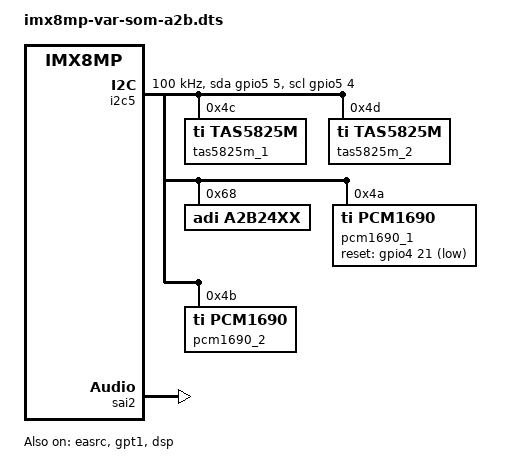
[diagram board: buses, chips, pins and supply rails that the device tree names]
/*
 * Copyright AxisB Inc 2024 - 2025
 * All rights reserved
 */

#include "imx8mp-var-som-symphony.dts"

/* Enable easrc */
&easrc {
	fsl,asrc-rate  = <48000>;
	status = "okay";
};

/* AVB HW timer */
&gpt1 {
	compatible = "fsl,avb-gpt";
	timer-channel = <1>; /* Use output compare channel 1*/
	rec-channel = <1 0 1>; // capture channel, eth port, ENET TC id
	prescale = <1>;
	domain = <0>;

	clocks = <&clk IMX8MP_CLK_GPT1_ROOT>,
		 <&clk IMX8MP_CLK_GPT1_ROOT>,
		 <&clk IMX8MP_AUDIO_PLL1>;
	clock-names = "ipg", "per", "audio_pll";

	/* Make the GPT clk root derive from the audio PLL*/
	assigned-clocks = <&clk IMX8MP_CLK_GPT1>;
	assigned-clock-parents = <&clk IMX8MP_AUDIO_PLL1_OUT>;
	assigned-clock-rates = <0>;

	gpt1_capin1_sel = <&gpr 0x4 2>;

	status = "okay";
};

&iomuxc {
	pinctrl_i2c5: i2c5grp {
		fsl,pins = <
			MX8MP_IOMUXC_HDMI_DDC_SCL__I2C5_SCL				0x400001c6
			MX8MP_IOMUXC_HDMI_DDC_SDA__I2C5_SDA				0x400001c6
		>;
	};

	pinctrl_sai2: sai2grp {
		fsl,pins = <
			MX8MP_IOMUXC_SAI2_TXFS__AUDIOMIX_SAI2_TX_SYNC			0xd6
			MX8MP_IOMUXC_SAI2_TXC__AUDIOMIX_SAI2_TX_BCLK			0xd6
			MX8MP_IOMUXC_SAI2_TXD0__AUDIOMIX_SAI2_TX_DATA00			0xd6
			MX8MP_IOMUXC_SAI2_RXD0__AUDIOMIX_SAI2_TX_DATA01			0xd6
			MX8MP_IOMUXC_SAI2_MCLK__AUDIOMIX_SAI2_MCLK			    0xd6
		>;
	};

    pinctrl_gpio4_21: gpio_perf_grp {
        fsl,pins = <
			MX8MP_IOMUXC_SAI2_RXFS__GPIO4_IO21			            0xd6
        >;
    };
};

/* ------------------------------------------------------------------------ */
/*   Enable I2C5 under Linux and bind the pins you already muxed above      */
&i2c5 {
    status = "okay";
    pinctrl-names = "default";
    pinctrl-0 = <&pinctrl_i2c5>;
    clock-frequency = <100000>;  /* Start with 100kHz for reliability */
    scl-gpios = <&gpio5 4 GPIO_ACTIVE_HIGH>;  /* recovery gpios */
    sda-gpios = <&gpio5 5 GPIO_ACTIVE_HIGH>;  /* recovery gpios */

    tas5825m_1: audio-codec@4c {
        compatible = "ti,tas5825m";
        reg = <0x4c>;
        #sound-dai-cells = <0>;
        ti,dsp-config-name = "default";
        status = "okay";
    };

    tas5825m_2: audio-codec@4d {
        compatible = "ti,tas5825m";
        reg = <0x4d>;
        #sound-dai-cells = <0>;
        ti,dsp-config-name = "default";
        status = "okay";
    };

	a2b24xx: a2b24xx@68 {
		compatible = "adi,a2b24xx";
		reg = <0x68>;
		#sound-dai-cells = <0>;
	};

	pcm1690_1: audio-codec@4a {
        compatible = "ti,pcm1690";
        reg = <0x4a>;
        reset-gpios = <&gpio4 21 GPIO_ACTIVE_LOW>;
        #sound-dai-cells = <0>;
        status = "okay";
    };

	pcm1690_2: audio-codec@4b {
        compatible = "ti,pcm1690";
        reg = <0x4b>;
        #sound-dai-cells = <0>;
        status = "okay";
    };
};

/* ------------------------------------------------------------------------ */
/*   Enable SAI2 under Linux and bind the pinmux                            */
&sai2 {
    status = "okay";
    #sound-dai-cells = <0>;
    pinctrl-names = "default";
    pinctrl-0 = <&pinctrl_sai2>;

    /* audio clock for BCLK/FS generation */
    assigned-clocks = <&clk IMX8MP_CLK_SAI2>;
    assigned-clock-parents = <&clk IMX8MP_AUDIO_PLL1_OUT>;
    assigned-clock-rates = <24576000>;
    fsl,sai-mclk-direction-output;
};

/* ------------------------------------------------------------------------ */
/*   Sound Cards */
/ {

    /*   Sound Card TAS5825M */
    sound-tas5825m {
        compatible = "fsl,imx-audio-card";
        model      = "tas5825m-soundcard";

        playback-dai-link {
            link-name = "TAS5825M Playback";
            format    = "i2s";

            cpu { sound-dai = <&sai2>; };
            codec { sound-dai = <&tas5825m_1>; };
        };
    };

    /*   Sound Cards over a2b24xx */
    sound-a2b24xx {
        compatible = "simple-audio-card";
        simple-audio-card,name = "a2b24xx-soundcard";
        simple-audio-card,format = "i2s";
        simple-audio-card,bitclock-master = <&a2b24xxcpu>;
        simple-audio-card,frame-master = <&a2b24xxcpu>;

        a2b24xxcpu: simple-audio-card,cpu {
            sound-dai = <&sai2>;
        };
        a2b24xxcodec: simple-audio-card,codec@0 {
            sound-dai = <&a2b24xx>;
        };
    };

	pcm1690-soundcard {
        compatible = "fsl,imx-audio-card";
        model = "sound-pcm1690";

        /* connect the CPU “Playback” widget to your codec’s line-outs */
        audio-routing =
             "IOUTL+", "Playback",
             "IOUTL-", "Playback",
             "IOUTR+", "Playback",
             "IOUTR-", "Playback";
        playback-dai-link {
            link-name = "PCM1690 Playback";
            format = "dsp_b";
            dai-tdm-slot-num = <8>;
            dai-tdm-slot-width = <32>;
            cpu { sound-dai = <&sai2>; };
            codec { sound-dai = <&pcm1690_1> /*, <&pcm1690_2>*/; };
        };
    };
};


&dsp {
	compatible = "fsl,imx8mp-hifi4";
	reg = <0x0 0x3B6E8000 0x0 0x88000>;
	pinctrl-names = "default";
	pinctrl-0 = <&pinctrl_uart4>;
	clocks = <&audio_blk_ctrl IMX8MP_CLK_AUDIO_BLK_CTRL_OCRAMA_IPG>,
			 <&audio_blk_ctrl IMX8MP_CLK_AUDIO_BLK_CTRL_DSP_ROOT>,
			 <&audio_blk_ctrl IMX8MP_CLK_AUDIO_BLK_CTRL_DSPDBG_ROOT>,
			 <&audio_blk_ctrl IMX8MP_CLK_AUDIO_BLK_CTRL_SDMA3_ROOT>,
			 <&audio_blk_ctrl IMX8MP_CLK_AUDIO_BLK_CTRL_ASRC_IPG>,
			 <&clk IMX8MP_CLK_UART4_ROOT>;
	clock-names = "ocram", "core", "debug",
				  "per_clk1", "per_clk2", "per_clk3",
                  "per_clk5", "per_clk7";
	firmware-name = "imx/dsp/hifi4.bin";
	power-domains = <&audiomix_pd>;
	mbox-names = "tx0", "rx0", "rxdb0";
	mboxes = <&mu2 0 0>,
			 <&mu2 1 0>,
			 <&mu2 3 0>;
	memory-region = <&dsp_vdev0buffer>, <&dsp_vdev0vring0>,
					<&dsp_vdev0vring1>, <&dsp_reserved>;
	syscon = <&audio_blk_ctrl>;
	status = "okay";
};

&uart4 {
	status = "disabled";
};

&wm8904 {
	status = "disabled";
};

&pcie {
    status = "disabled";
};

&pcie_ep {
    status = "disabled";
};

&sound_hdmi {
	status = "disabled";
};

&aud2htx {
	status = "disabled";
};

&flexcan2 {
	status = "disabled";
};

&irqsteer_hdmi {
	status = "disabled";
};

&hdmi_blk_ctrl {
	status = "disabled";
};

&hdmi_pavi {
	status = "disabled";
};

&hdmi {
	status = "disabled";
};

&hdmiphy {
	status = "disabled";
};

/* MIPI-DSI */
&lcdif1 {
	status = "disabled";
};

/* LVDS */
&lcdif2 {
	status = "disabled";
};

/* HDMI */
&lcdif3 {
	status = "disabled";
};

&ldb {
	status = "disabled";
};

&ldb_phy {
	status = "disabled";
};

&mipi_dsi {
	status = "disabled";
};
